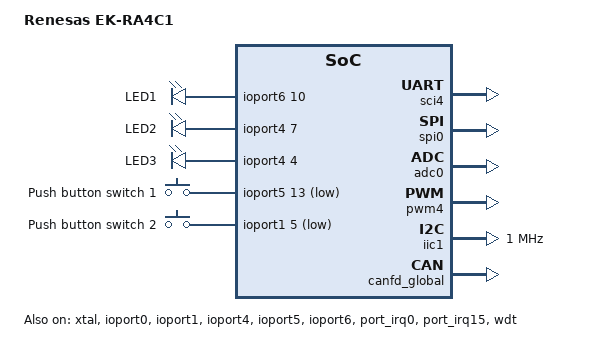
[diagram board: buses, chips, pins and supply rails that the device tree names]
/*
 * Copyright (c) 2025 Renesas Electronics Corporation
 * SPDX-License-Identifier: Apache-2.0
 */

/dts-v1/;

#include <renesas/ra/ra4/r7fa4c1bd3cfp.dtsi>
#include <dt-bindings/gpio/gpio.h>
#include <dt-bindings/input/input-event-codes.h>
#include <zephyr/dt-bindings/adc/adc.h>
#include "ek_ra4c1-pinctrl.dtsi"

/ {
	model = "Renesas EK-RA4C1";
	compatible = "renesas,ra4c1", "renesas,ra";

	chosen {
		zephyr,sram = &sram0;
		zephyr,flash-controller = &flash;
		zephyr,flash = &flash0;
		zephyr,console = &uart4;
		zephyr,shell-uart = &uart4;
		zephyr,canbus = &canfd0;
	};

	leds {
		compatible = "gpio-leds";

		led1: led1 {
			gpios = <&ioport6 10 GPIO_ACTIVE_HIGH>;
			label = "LED1";
		};

		led2: led2 {
			gpios = <&ioport4 7 GPIO_ACTIVE_HIGH>;
			label = "LED2";
		};

		led3: led3 {
			gpios = <&ioport4 4 GPIO_ACTIVE_HIGH>;
			label = "LED3";
		};
	};

	buttons {
		compatible = "gpio-keys";

		button0: s1 {
			gpios = <&ioport5 13 (GPIO_PULL_UP | GPIO_ACTIVE_LOW)>;
			label = "Push button switch 1";
			zephyr,code = <INPUT_KEY_0>;
		};

		button1: s2 {
			gpios = <&ioport1 5 (GPIO_PULL_UP | GPIO_ACTIVE_LOW)>;
			label = "Push button switch 2";
			zephyr,code = <INPUT_KEY_1>;
		};
	};

	aliases {
		led0 = &led1;
		sw0 = &button0;
		sw1 = &button1;
		watchdog0 = &wdt;
	};
};

&xtal {
	clock-frequency = <DT_FREQ_M(8)>;
	mosel = <0>;
	#clock-cells = <0>;
	status = "okay";
};

&subclk {
	status = "okay";
};

&pll {
	clocks = <&xtal>;
	div = <1>;
	mul = <10 0>;
	status = "okay";
};

&canfdclk {
	clocks = <&pll>;
	div = <2>;
	status = "okay";
};

&sci4 {
	pinctrl-0 = <&sci4_default>;
	pinctrl-names = "default";
	interrupts = <0 1>, <1 1>, <2 1>, <3 1>;
	interrupt-names = "rxi", "txi", "tei", "eri";
	status = "okay";

	uart4: uart {
		current-speed = <115200>;
		status = "okay";
	};
};

&ioport0 {
	status = "okay";
};

&ioport1 {
	status = "okay";
};

&ioport4 {
	status = "okay";
};

&ioport5 {
	status = "okay";
};

&ioport6 {
	status = "okay";
};

&spi0 {
	interrupts = <4 1>, <5 1>, <6 1>, <7 1>;
	interrupt-names = "rxi", "txi", "tei", "eri";
	pinctrl-0 = <&spi0_default>;
	pinctrl-names = "default";
	status = "okay";
};

&adc0 {
	interrupts = <8 1>;
	interrupt-names = "scanend";
	pinctrl-0 = <&adc0_default>;
	pinctrl-names = "default";
	status = "okay";
};

&port_irq0 {
	interrupts = <9 12>;
	status = "okay";
};

&port_irq15 {
	interrupts = <10 12>;
	status = "okay";
};

&pwm4 {
	pinctrl-0 = <&pwm4_default>;
	pinctrl-names = "default";
	interrupts = <11 1>, <12 1>;
	interrupt-names = "gtioca", "overflow";
	divider = <RA_PWM_SOURCE_DIV_256>;
	status = "okay";
};

&iic1 {
	pinctrl-0 = <&iic1_default>;
	pinctrl-names = "default";
	#address-cells = <1>;
	#size-cells = <0>;
	clock-frequency = <DT_FREQ_M(1)>;
	interrupts = <13 1>, <14 1>, <15 1>, <16 1>;
	interrupt-names = "rxi", "txi", "tei", "eri";
	status = "okay";
};

&canfd_global {
	interrupts = <17 1>, <18 1>;
	interrupt-names = "rxf", "glerr";
	status = "okay";

	canfd0 {
		interrupts = <19 12>, <20 12>, <21 12>;
		interrupt-names = "err", "tx", "rx";
		pinctrl-0 = <&canfd0_default>;
		pinctrl-names = "default";
		rx-max-filters = <16>;
		status = "okay";

		can-transceiver {
			max-bitrate = <5000000>;
		};
	};
};

&wdt {
	status = "okay";
};

&flash1 {
	partitions {
		compatible = "fixed-partitions";
		#address-cells = <1>;
		#size-cells = <1>;

		storage_partition: partition@0 {
			label = "storage";
			reg = <0x0 DT_SIZE_K(8)>;
		};
	};
};
